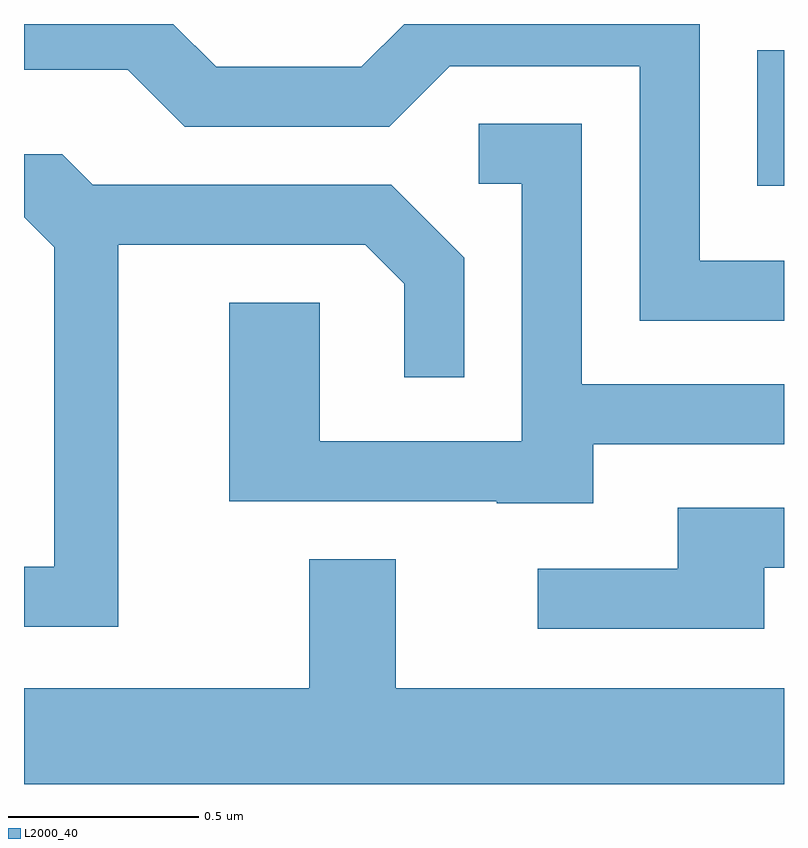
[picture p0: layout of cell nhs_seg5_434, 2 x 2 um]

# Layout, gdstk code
import gdstk
lib = gdstk.Library(unit=1e-6, precision=1e-09)
def R(c, l, rs):  # rectangles x0, y0, x1, y1
    for r in rs: c.add(gdstk.rectangle(r[:2], r[2:], *l))
def P(c, l, *ps):  # polygons
    for p in ps: c.add(gdstk.Polygon(p, *l))
L2000_40 = (2000, 40)

nhs_seg5_434 = lib.new_cell('nhs_seg5_434')
R(nhs_seg5_434, L2000_40, [(190.541,1420.646,190.611,1421.003)])
P(nhs_seg5_434, L2000_40, [(190.611,1420.449),(190.389,1420.449),(190.389,1421.072),(189.612,1421.072),(189.499,1420.959),(189.117,1420.959),(189.004,1421.072),(188.611,1421.072),(188.611,1420.951),(188.884,1420.951),(189.034,1420.801),(189.572,1420.801),(189.732,1420.961),(190.231,1420.961),(190.231,1420.291),(190.611,1420.291)],
  [(190.109,1419.966),(190.611,1419.966),(190.611,1420.124),(190.079,1420.124),(190.079,1420.809),(189.808,1420.809),(189.808,1420.651),(189.921,1420.651),(189.921,1419.974),(189.389,1419.974),(189.389,1420.339),(189.151,1420.339),(189.151,1419.816),(189.855,1419.816),(189.855,1419.811),(190.109,1419.811)],
  [(188.859,1420.491),(189.509,1420.491),(189.611,1420.389),(189.611,1420.143),(189.769,1420.143),(189.769,1420.457),(189.577,1420.649),(188.792,1420.649),(188.712,1420.729),(188.611,1420.729),(188.611,1420.564),(188.691,1420.484),(188.691,1419.644),(188.611,1419.644),(188.611,1419.486),(188.859,1419.486)],
  [(190.559,1419.641),(190.611,1419.641),(190.611,1419.799),(190.331,1419.799),(190.331,1419.639),(189.963,1419.639),(189.963,1419.481),(190.559,1419.481)],
  [(190.611,1419.324),(189.589,1419.324),(189.589,1419.664),(189.361,1419.664),(189.361,1419.324),(188.611,1419.324),(188.611,1419.072),(190.611,1419.072)])

lib.write_gds('nhs_seg5_434.gds')
